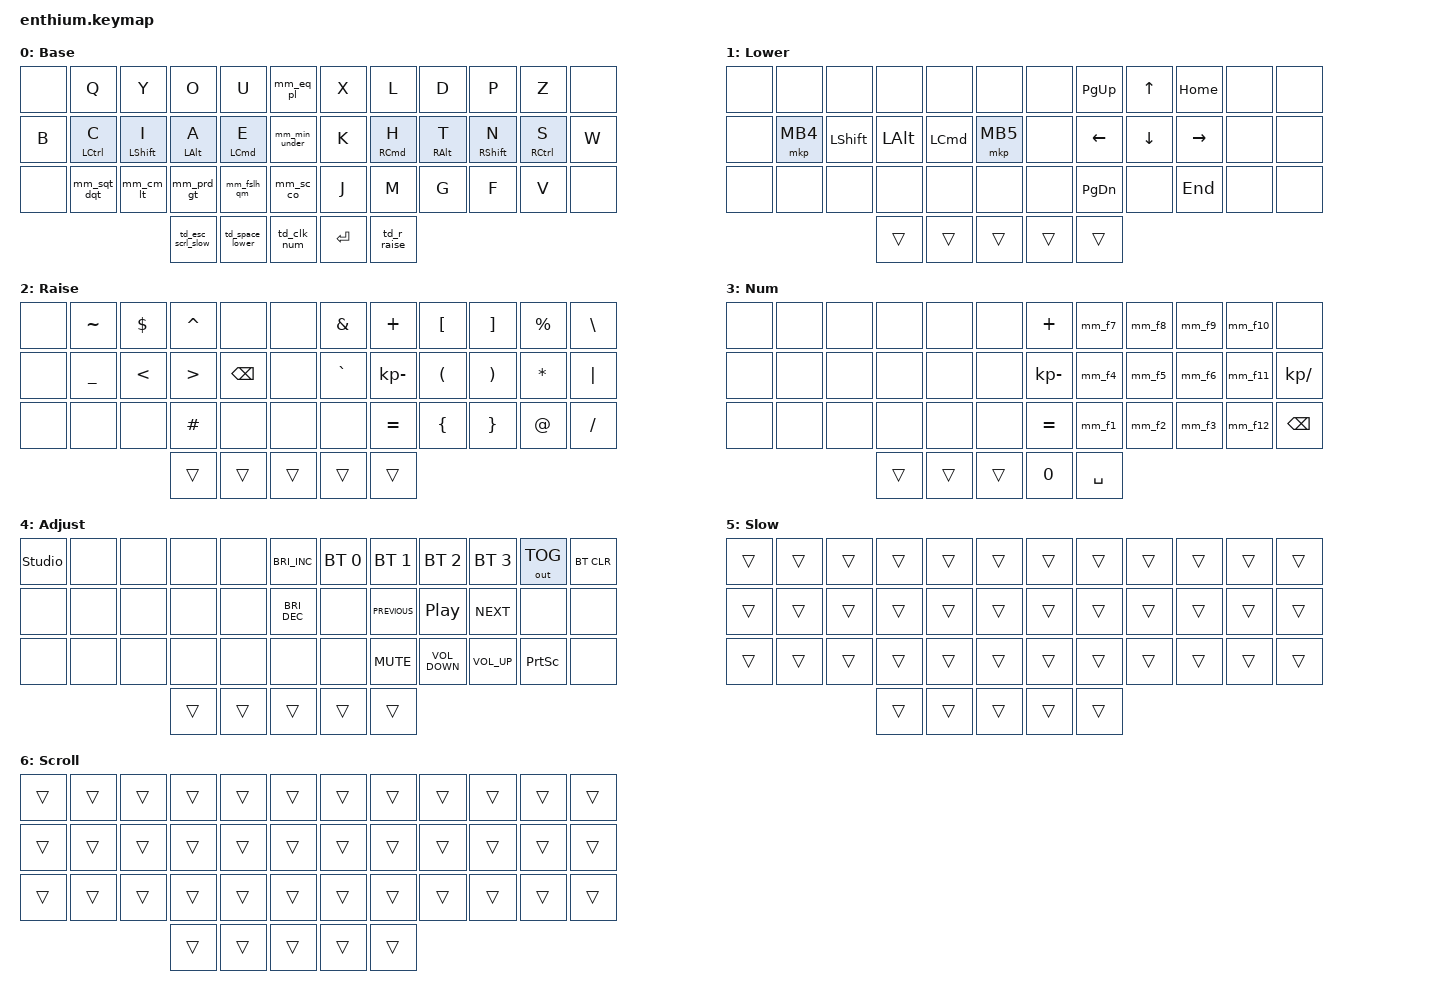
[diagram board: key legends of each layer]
/* upstream bindings and behaviors */
#include <behaviors.dtsi>
#include <dt-bindings/zmk/bt.h>
#include <dt-bindings/zmk/keys.h>
#include <dt-bindings/zmk/mouse.h>
#include <dt-bindings/zmk/outputs.h>
#include <behaviors/mouse_keys.dtsi>
#include <dt-bindings/zmk/ext_power.h>

/* local overlays */
#include "macros.dtsi"
#include "behaviors.dtsi"
#include "combos.dtsi"

/ {
/* --- KEYMAP CONFIG --- */
// ╭──────┬──────┬──────┬──────┬──────┬──────╮  ╭──────┬──────┬──────┬──────┬──────┬──────╮
//    00     01     02     03    04      05        06     07     08     09     10     11
// ├──────┼──────┼──────┼──────┼──────┼──────┤  ├──────┼──────┼──────┼──────┼──────┼──────┤
//    12     13     14     15    16      17        18     19     20     21     22     23
// ├──────┼──────┼──────┼──────┼──────┼──────┤  ├──────┼──────┼──────┼──────┼──────┼──────┤
//    24     25     26     27    28      29        30     31     32     33     34     35
// ╰──────┴──────┴──────┼──────┼──────┼──────┤  ├──────┼──────┼──────┴──────┴──────┴──────╯
//                         36     37     38        39     40
//                      ╰──────┴──────┴──────╯  ╰──────┴──────╯
#define L_BASE      0
#define L_LOWER     1
#define L_RAISE     2
#define L_NUM       3
#define L_ADJUST    4
#define L_SLOW      5
#define L_SCROLL    6

    keymap {
        compatible = "zmk,keymap";

        BASE {
            display-name = "Base";
            bindings = <
&none   &kp Q               &kp Y               &kp O               &kp U               &mm_eq_pl                   &kp X           &kp L               &kp D              &kp P                &kp Z               &none
&kp B   &ht_left LCTRL C    &ht_left LSHFT I    &ht_left LALT A     &ht_left LCMD E     &mm_min_under               &kp K           &ht_right RCMD H    &ht_right RALT T   &ht_right RSHFT N    &ht_right RCTRL S   &kp W
&none   &mm_sqt_dqt         &mm_cm_lt           &mm_prd_gt          &mm_fslh_qm         &mm_sc_co                   &kp J           &kp M               &kp G              &kp F                &kp V               &none
                                                &td_esc_scrl_slow   &td_space_lower     &td_clk_num                 &kp ENTER       &td_r_raise
            >;
        };

        LOWER {
            display-name = "Lower";
            bindings = <
&none   &none       &none       &none       &none       &none                       &none   &kp PG_UP           &kp UP      &kp HOME            &none       &none
&none   &mkp MB4    &kp LSHFT   &kp LALT    &kp LCMD    &mkp MB5                    &none   &kp LEFT_ARROW      &kp DOWN    &kp RIGHT_ARROW     &none       &none
&none   &none       &none       &none       &none       &none                       &none   &kp PG_DN           &none       &kp END             &none       &none
                                &trans      &trans      &trans                      &trans  &trans
            >;
        };

        RAISE {
            display-name = "Raise";
            bindings = <
&none  &kp TILDE    &kp DLLR    &kp CARET   &none           &none                   &kp AMPS    &kp PLUS        &kp LBKT    &kp RBKT    &kp PRCNT   &kp BSLH
&none  &kp UNDER    &kp LT      &kp GT      &kp BACKSPACE   &none                   &kp GRAVE   &kp KP_MINUS    &kp LPAR    &kp RPAR    &kp ASTRK   &kp PIPE
&none  &none        &none       &kp HASH    &none           &none                   &none       &kp EQUAL       &kp LBRC    &kp RBRC    &kp AT      &kp FSLH
                                &trans      &trans          &trans                  &trans      &trans
            >;
        };

        NUM {
            display-name = "Num";
            bindings = <
&none   &none   &none   &none   &none   &none               &kp PLUS        &mm_f7      &mm_f8  &mm_f9  &mm_f10     &none
&none   &none   &none   &none   &none   &none               &kp KP_MINUS    &mm_f4      &mm_f5  &mm_f6  &mm_f11     &kp KP_SLASH
&none   &none   &none   &none   &none   &none               &kp EQUAL       &mm_f1      &mm_f2  &mm_f3  &mm_f12     &kp BACKSPACE
                        &trans  &trans  &trans              &kp N0          &kp SPACE
            >;
        };

        ADJUST {
            display-name = "Adjust";
            bindings = <
&studio_unlock      &none   &none   &none   &none   &kp C_BRIGHTNESS_INC                    &bt BT_SEL 0    &bt BT_SEL 1    &bt BT_SEL 2        &bt BT_SEL 3        &out OUT_TOG        &bt BT_CLR
&none               &none   &none   &none   &none   &kp C_BRIGHTNESS_DEC                    &none           &kp C_PREVIOUS  &kp C_PLAY_PAUSE    &kp C_NEXT          &none               &none
&none               &none   &none   &none   &none   &none                                   &none           &kp K_MUTE      &kp C_VOLUME_DOWN   &kp C_VOLUME_UP     &kp PRINTSCREEN     &none
                                    &trans  &trans  &trans                                  &trans          &trans
            >;
        };

        SLOW {
            display-name = "Slow";
            bindings = <
&trans    &trans    &trans    &trans    &trans    &trans    &trans    &trans    &trans    &trans    &trans    &trans
&trans    &trans    &trans    &trans    &trans    &trans    &trans    &trans    &trans    &trans    &trans    &trans
&trans    &trans    &trans    &trans    &trans    &trans    &trans    &trans    &trans    &trans    &trans    &trans
                              &trans    &trans    &trans    &trans    &trans
            >;
        };

        SCROLL {
            display-name = "Scroll";
            bindings = <
&trans    &trans    &trans    &trans    &trans    &trans    &trans    &trans    &trans    &trans    &trans    &trans
&trans    &trans    &trans    &trans    &trans    &trans    &trans    &trans    &trans    &trans    &trans    &trans
&trans    &trans    &trans    &trans    &trans    &trans    &trans    &trans    &trans    &trans    &trans    &trans
                              &trans    &trans    &trans    &trans    &trans
            >;
        };
    };
};
